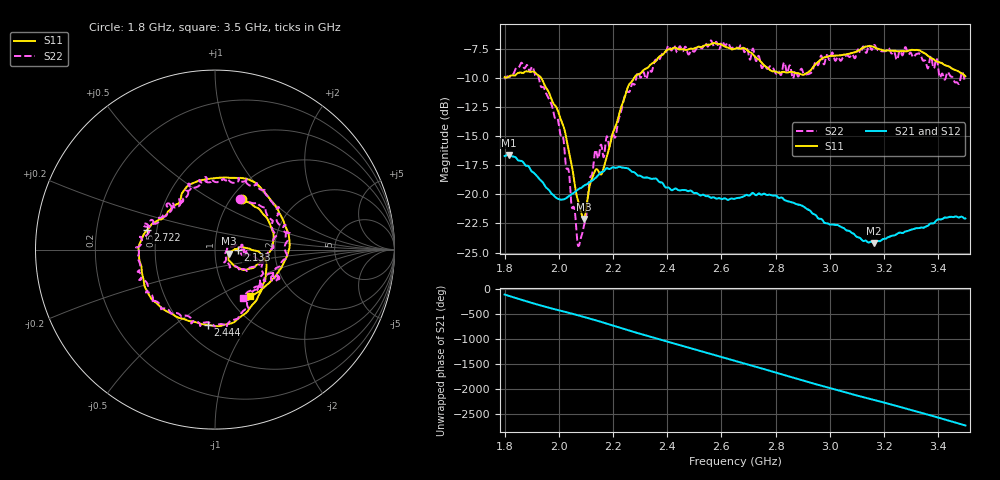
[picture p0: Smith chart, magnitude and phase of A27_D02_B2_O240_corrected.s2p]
! Created with skrf 1.9.0 (http://scikit-rf.org).
# Hz S RI R 50.0
!freq ReS11 ImS11 ReS21 ImS21 ReS12 ImS12 ReS22 ImS22
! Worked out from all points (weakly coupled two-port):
!   1601 points, 1.8 GHz to 3.5 GHz, reference 50 ohm
!   highest |S21| = -16.62 dB at 1.816 GHz (marker M1); lowest = -24.2 dB at 3.162 GHz (marker M2)
!   lowest |S11| = -22.1 dB at 2.092 GHz (marker M3), VSWR 1.17, Z = 58.1 - j2.57 ohm
!   |S11| at or under -10 dB: 1.936 GHz to 2.277 GHz (341.4 MHz wide, 16.2 % of centre)
!   |S22| runs from -24.5 to -6.8 dB; largest |S21 - S12| = 0.0026
!   S11 on the Smith chart (normalised r, x): 1.8 GHz: 1.12, +0.70; 2.133 GHz: 1.29, -0.01; 2.444 GHz: 0.66, -0.67; 2.722 GHz: 0.44, +0.11; 3.5 GHz: 1.26, -0.72
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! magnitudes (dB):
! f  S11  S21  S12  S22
! 1.8 GHz  -9.9  -16.7  -16.7  -10.0
! 1.816 GHz  -9.8  -16.6  -16.6  -9.9
! 1.902 GHz  -9.4  -18.1  -18.0  -9.0
! 1.966 GHz  -11.4  -19.7  -19.8  -11.9
! 2.02 GHz  -14.3  -20.4  -20.4  -15.9
! 2.07 GHz  -20.5  -19.6  -19.6  -24.3
! 2.084 GHz  -21.6  -19.4  -19.4  -23.5
! 2.092 GHz  -22.1  -19.3  -19.3  -22.8
! 2.133 GHz  -18.0  -18.6  -18.6  -16.4
! 2.162 GHz  -18.0  -18.1  -18.0  -16.6
! 2.209 GHz  -14.2  -17.7  -17.7  -15.1
! 2.26 GHz  -10.5  -17.9  -17.9  -11.2
! 2.367 GHz  -8.2  -18.9  -18.8  -8.5
! 2.444 GHz  -7.5  -19.6  -19.6  -7.4
! 2.65 GHz  -7.5  -20.4  -20.3  -7.3
! 2.722 GHz  -8.1  -20.0  -19.9  -8.0
! 2.808 GHz  -9.5  -20.2  -20.2  -9.4
! 2.934 GHz  -9.2  -21.6  -21.6  -9.5
! 3.162 GHz  -7.3  -24.2  -24.1  -7.2
! 3.217 GHz  -7.6  -23.7  -23.6  -7.4
! 3.329 GHz  -7.6  -22.9  -22.9  -7.9
! 3.5 GHz  -9.8  -22.1  -22.0  -10.2
